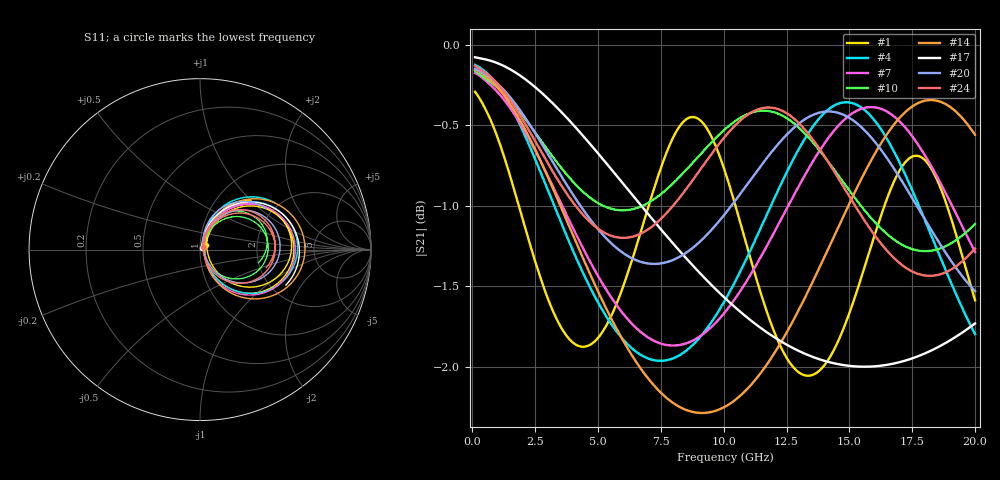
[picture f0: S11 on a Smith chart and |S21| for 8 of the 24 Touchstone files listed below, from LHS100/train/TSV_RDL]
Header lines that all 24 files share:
! Touchstone file exported from HFSS 2026.1.0
!  Design:  TSV_RDL
! Variables:
! Terminal data exported
# GHz S MA R 50.000000
Fixed: h_ox = 20um, h_rdl = 5um, h_via = 3um, m_sub = 200um, s_tmrdl = 10um, w_sub = 500um
Also varied, not listed: x_tsv_center2, x_tsv_center3, x_tsv_center4, x_tsv_center5, x_tsv_center6
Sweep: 100 MHz to 20 GHz
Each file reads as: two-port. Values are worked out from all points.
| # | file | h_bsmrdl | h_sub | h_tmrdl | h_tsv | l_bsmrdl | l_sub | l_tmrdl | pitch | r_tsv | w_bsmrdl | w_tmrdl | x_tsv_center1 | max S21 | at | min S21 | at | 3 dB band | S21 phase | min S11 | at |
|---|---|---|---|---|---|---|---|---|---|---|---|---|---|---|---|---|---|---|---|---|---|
| 1 | dut41.s2p | 3.66um | 64.03um | 2.69um | 64.03um | 891.41um | 6927.27um | 924.65um | 53.49um | 4.66um | 28.35um | 23.13um | 936.215um | -0.29 dB | 100 MHz | -2.1 dB | 13.4 GHz | 100 MHz-20 GHz | 156 deg at 10.1 GHz | -31.1 dB | 8.9 GHz |
| 2 | dut42.s2p | 2.97um | 63.42um | 4.36um | 63.42um | 781.13um | 5227.99um | 592.98um | 41.26um | 4.01um | 19.89um | 17.67um | 601.815um | -0.25 dB | 100 MHz | -2.0 dB | 18 GHz | 100 MHz-20 GHz | -147 deg at 10.1 GHz | -30.3 dB | 12 GHz |
| 3 | dut43.s2p | 2.4um | 67.92um | 2.12um | 67.92um | 576.54um | 4173.61um | 487.38um | 32.13um | 4.9um | 20.28um | 11.21um | 492.985um | -0.38 dB | 100 MHz | -1.9 dB | 20 GHz | 100 MHz-20 GHz | -122 deg at 10.1 GHz | -30.7 dB | 13.7 GHz |
| 4 | dut45.s2p | 5.96um | 68.96um | 5.22um | 68.96um | 166.83um | 3894.91um | 726.15um | 57.48um | 14.73um | 10.72um | 19.22um | 735.76um | -0.12 dB | 100 MHz | -2.0 dB | 7.5 GHz | 100 MHz-20 GHz | -112 deg at 10.1 GHz | -33.4 dB | 100 MHz |
| 5 | dut49.s2p | 4.49um | 66.93um | 4.11um | 66.93um | 156.28um | 1993.39um | 256.26um | 38.86um | 10.47um | 14.59um | 18.58um | 265.55um | -0.08 dB | 100 MHz | -0.9 dB | 13.8 GHz | 100 MHz-20 GHz | -64 deg at 10.1 GHz | -39.8 dB | 100 MHz |
| 6 | dut50.s2p | 2.83um | 73.41um | 2.03um | 73.41um | 465.86um | 2899.73um | 239.02um | 57.84um | 6.91um | 29.29um | 19.4um | 248.72um | -0.15 dB | 100 MHz | -1.8 dB | 10 GHz | 100 MHz-20 GHz | -87 deg at 10.1 GHz | -34.4 dB | 20 GHz |
| 7 | dut51.s2p | 3.23um | 74.76um | 3.05um | 74.76um | 552.9um | 3751.63um | 393.39um | 48.45um | 7.98um | 18.41um | 21.38um | 404.08um | -0.17 dB | 100 MHz | -1.9 dB | 8 GHz | 100 MHz-20 GHz | -108 deg at 10.1 GHz | -32.2 dB | 100 MHz |
| 8 | dut52.s2p | 5.39um | 57.95um | 2.05um | 57.95um | 213.03um | 2003.51um | 218.2um | 41.59um | 6.26um | 12.55um | 17.99um | 227.195um | -0.12 dB | 100 MHz | -1.8 dB | 15.2 GHz | 100 MHz-20 GHz | -62 deg at 10.1 GHz | -36.0 dB | 100 MHz |
| 9 | dut53.s2p | 5.48um | 85.14um | 5.64um | 85.14um | 296.31um | 3696um | 580.49um | 46.2um | 7.36um | 16.51um | 11.86um | 586.42um | -0.15 dB | 100 MHz | -2.1 dB | 7.7 GHz | 100 MHz-20 GHz | -109 deg at 10.1 GHz | -32.5 dB | 100 MHz |
| 10 | dut56.s2p | 4.36um | 98.95um | 3.3um | 98.95um | 915.83um | 4521.39um | 311.84um | 45.01um | 11.96um | 26.1um | 16.08um | 319.88um | -0.16 dB | 100 MHz | -1.3 dB | 18 GHz | 100 MHz-20 GHz | -143 deg at 10.1 GHz | -35.3 dB | 11.9 GHz |
| 11 | dut60.s2p | 3.3um | 72.43um | 3.23um | 72.43um | 268.96um | 3301.98um | 496.76um | 51.93um | 10.89um | 10.95um | 25.07um | 509.295um | -0.16 dB | 100 MHz | -1.8 dB | 9 GHz | 100 MHz-20 GHz | -98 deg at 10.1 GHz | -33.2 dB | 100 MHz |
| 12 | dut61.s2p | 4.98um | 69.85um | 3.43um | 69.85um | 183.91um | 4148.61um | 772.97um | 58.64um | 2.11um | 20.45um | 14.55um | 780.245um | -0.31 dB | 100 MHz | -3.3 dB | 7.3 GHz | 100 MHz-20 GHz | -113 deg at 10.1 GHz | -28.6 dB | 14.8 GHz |
| 13 | dut62.s2p | 4.12um | 87.17um | 3.79um | 87.17um | 589.49um | 4869.09um | 645.35um | 35.04um | 6.1um | 22.81um | 16.93um | 653.815um | -0.21 dB | 100 MHz | -1.4 dB | 17.6 GHz | 100 MHz-20 GHz | -147 deg at 10.1 GHz | -33.3 dB | 11.7 GHz |
| 14 | dut63.s2p | 2.42um | 86.04um | 3.7um | 86.04um | 304.51um | 3163.58um | 433.18um | 57.61um | 6.52um | 19.19um | 19.92um | 443.14um | -0.15 dB | 100 MHz | -2.3 dB | 9.1 GHz | 100 MHz-20 GHz | -95 deg at 10.1 GHz | -32.9 dB | 100 MHz |
| 15 | dut65.s2p | 3.03um | 94.64um | 3.53um | 94.64um | 824.81um | 6525.1um | 885.81um | 41.82um | 10.6um | 23.42um | 12.39um | 892.005um | -0.36 dB | 100 MHz | -2.5 dB | 20 GHz | 100 MHz-20 GHz | 150 deg at 10.1 GHz | -30.1 dB | 8.4 GHz |
| 16 | dut66.s2p | 2.88um | 99.17um | 2.43um | 99.17um | 979.03um | 6413.23um | 732.12um | 52.99um | 13.36um | 20.76um | 28.46um | 746.35um | -0.29 dB | 100 MHz | -1.8 dB | 13.8 GHz | 100 MHz-20 GHz | 158 deg at 10.1 GHz | -32.1 dB | 9.1 GHz |
| 17 | dut68.s2p | 5.56um | 77.44um | 5.29um | 77.44um | 226.95um | 1898.57um | 172.99um | 54.49um | 4.38um | 13.86um | 28.06um | 187.02um | -0.08 dB | 100 MHz | -2.0 dB | 15.6 GHz | 100 MHz-20 GHz | -64 deg at 10.1 GHz | -38.5 dB | 100 MHz |
| 18 | dut69.s2p | 2.56um | 90.95um | 4.26um | 90.95um | 205.46um | 2278.3um | 293.64um | 57.45um | 7.46um | 14.34um | 14.78um | 301.03um | -0.13 dB | 100 MHz | -2.4 dB | 11.9 GHz | 100 MHz-20 GHz | -77 deg at 10.1 GHz | -34.7 dB | 100 MHz |
| 19 | dut70.s2p | 3.7um | 84.65um | 3.84um | 84.65um | 993.26um | 5984.61um | 626.93um | 54.22um | 5.45um | 18.33um | 14.04um | 633.95um | -0.30 dB | 100 MHz | -2.9 dB | 15.1 GHz | 100 MHz-20 GHz | -179 deg at 10.1 GHz | -28.7 dB | 10 GHz |
| 20 | dut71.s2p | 5.7um | 75.88um | 4.64um | 75.88um | 285.23um | 3748.58um | 599.77um | 41.36um | 12.45um | 17.01um | 14.26um | 606.9um | -0.15 dB | 100 MHz | -1.5 dB | 20 GHz | 100 MHz-20 GHz | -115 deg at 10.1 GHz | -33.6 dB | 14.4 GHz |
| 21 | dut72.s2p | 5.74um | 56.47um | 2.22um | 56.47um | 695.41um | 5739.73um | 780.21um | 58.64um | 3.32um | 14.71um | 29.51um | 794.965um | -0.27 dB | 100 MHz | -2.6 dB | 17.2 GHz | 100 MHz-20 GHz | -157 deg at 10.1 GHz | -30.1 dB | 11.4 GHz |
| 22 | dut74.s2p | 5.88um | 65.9um | 3.38um | 65.9um | 517.64um | 4406.11um | 573.3um | 50.26um | 11.09um | 27.86um | 25.47um | 586.035um | -0.12 dB | 100 MHz | -1.4 dB | 20 GHz | 100 MHz-20 GHz | -125 deg at 10.1 GHz | -35.2 dB | 13.7 GHz |
| 23 | dut77.s2p | 2.3um | 69.18um | 2.97um | 69.18um | 905.43um | 6985um | 944.28um | 48.86um | 7.68um | 18.96um | 11.57um | 950.065um | -0.53 dB | 100 MHz | -3.0 dB | 12.9 GHz | 100 MHz-20 GHz | 147 deg at 10.1 GHz | -27.4 dB | 8.6 GHz |
| 24 | dut78.s2p | 5.1um | 96.17um | 5.02um | 96.17um | 926.3um | 4643.54um | 335.08um | 48.15um | 12.88um | 23.9um | 17.54um | 343.85um | -0.13 dB | 100 MHz | -1.4 dB | 18.2 GHz | 100 MHz-20 GHz | -143 deg at 10.1 GHz | -34.4 dB | 12 GHz |
